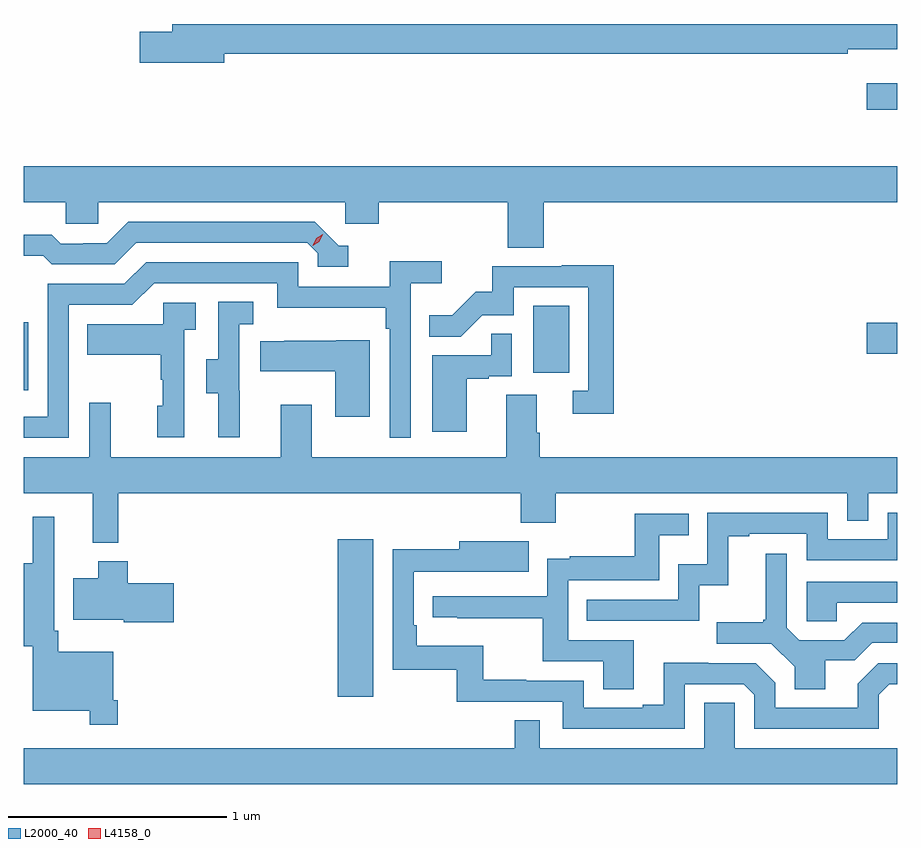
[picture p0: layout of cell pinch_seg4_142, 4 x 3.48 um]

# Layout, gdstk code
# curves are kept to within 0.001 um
import gdstk
lib = gdstk.Library(unit=1e-6, precision=1e-09)
def R(c, l, rs):  # rectangles x0, y0, x1, y1
    for r in rs: c.add(gdstk.rectangle(r[:2], r[2:], *l))
def P(c, l, *ps):  # polygons
    for p in ps: c.add(gdstk.Polygon(p, *l))
L2000_40 = (2000, 40)
L4158_0 = (4158, 0)

pinch_seg4_142 = lib.new_cell('pinch_seg4_142')
R(pinch_seg4_142, L2000_40, [(1103.75,805.212,1103.911,805.933), (1102.311,806.616,1102.332,806.926), (1104.644,806.694,1104.808,807.001), (1106.172,806.782,1106.311,806.924), (1106.172,807.899,1106.311,808.021)])
P(pinch_seg4_142, L2000_40, [(1103.23,808.156),(1106.084,808.156),(1106.084,808.176),(1106.311,808.176),(1106.311,808.292),(1102.991,808.292),(1102.991,808.256),(1102.842,808.256),(1102.842,808.114),(1103.23,808.114)],
  [(1104.692,807.476),(1106.311,807.476),(1106.311,807.64),(1102.311,807.64),(1102.311,807.476),(1102.503,807.476),(1102.503,807.378),(1102.653,807.378),(1102.653,807.476),(1103.784,807.476),(1103.784,807.378),(1103.936,807.378),(1103.936,807.476),(1104.527,807.476),(1104.527,807.268),(1104.692,807.268)],
  [(1103.797,807.276),(1103.754,807.276),(1103.643,807.387),(1102.79,807.387),(1102.691,807.288),(1102.584,807.288),(1102.584,807.285),(1102.481,807.285),(1102.439,807.328),(1102.311,807.328),(1102.311,807.231),(1102.4,807.231),(1102.439,807.192),(1102.728,807.192),(1102.827,807.291),(1103.61,807.291),(1103.658,807.243),(1103.658,807.18),(1103.797,807.18)],
  [(1102.518,807.006),(1102.809,807.006),(1102.908,807.105),(1103.472,807.105),(1103.472,806.993),(1103.968,806.993),(1103.968,806.897),(1103.988,806.897),(1103.988,806.397),(1104.084,806.397),(1104.084,807.104),(1104.226,807.104),(1104.226,807.206),(1103.987,807.206),(1103.987,807.09),(1103.568,807.09),(1103.568,807.201),(1102.871,807.201),(1102.772,807.102),(1102.422,807.102),(1102.422,806.493),(1102.311,806.493),(1102.311,806.397),(1102.518,806.397)],
  [(1105.013,807.188),(1104.775,807.188),(1104.775,807.183),(1104.457,807.183),(1104.457,807.066),(1104.38,807.066),(1104.273,806.959),(1104.169,806.959),(1104.169,806.86),(1104.313,806.86),(1104.411,806.958),(1104.555,806.958),(1104.555,807.087),(1104.897,807.087),(1104.897,806.613),(1104.825,806.613),(1104.825,806.508),(1105.013,806.508)],
  [(1103.3,806.613),(1103.298,806.613),(1103.298,806.917),(1103.362,806.917),(1103.362,807.02),(1103.202,807.02),(1103.202,806.757),(1103.147,806.757),(1103.147,806.602),(1103.201,806.602),(1103.201,806.4),(1103.3,806.4)],
  [(1103.046,806.891),(1103.098,806.891),(1103.098,807.015),(1102.95,807.015),(1102.95,806.917),(1102.603,806.917),(1102.603,806.777),(1102.938,806.777),(1102.938,806.663),(1102.948,806.663),(1102.948,806.544),(1102.922,806.544),(1102.922,806.4),(1103.046,806.4)],
  [(1104.34,806.667),(1104.44,806.667),(1104.44,806.679),(1104.546,806.679),(1104.546,806.873),(1104.451,806.873),(1104.451,806.775),(1104.182,806.775),(1104.182,806.424),(1104.34,806.424)],
  [(1103.896,806.845),(1103.742,806.845),(1103.742,806.842),(1103.503,806.842),(1103.503,806.839),(1103.395,806.839),(1103.395,806.702),(1103.738,806.702),(1103.738,806.493),(1103.896,806.493)],
  [(1102.745,806.144),(1104.587,806.144),(1104.587,806.009),(1104.747,806.009),(1104.747,806.144),(1106.082,806.144),(1106.082,806.017),(1106.178,806.017),(1106.178,806.144),(1106.311,806.144),(1106.311,806.308),(1104.674,806.308),(1104.674,806.42),(1104.661,806.42),(1104.661,806.594),(1104.521,806.594),(1104.521,806.308),(1103.629,806.308),(1103.629,806.548),(1103.489,806.548),(1103.489,806.308),(1102.709,806.308),(1102.709,806.557),(1102.611,806.557),(1102.611,806.308),(1102.311,806.308),(1102.311,806.144),(1102.628,806.144),(1102.628,805.916),(1102.745,805.916)],
  [(1105.404,805.721),(1105.537,805.721),(1105.537,805.947),(1105.633,805.947),(1105.633,805.959),(1105.896,805.959),(1105.896,805.836),(1106.311,805.836),(1106.311,806.055),(1106.268,806.055),(1106.268,805.932),(1105.992,805.932),(1105.992,806.055),(1105.44,806.055),(1105.44,805.819),(1105.308,805.819),(1105.308,805.656),(1104.889,805.656),(1104.889,805.56),(1105.404,805.56)],
  [(1105.105,805.47),(1104.804,805.47),(1104.804,805.746),(1105.221,805.746),(1105.221,805.952),(1105.355,805.952),(1105.355,806.049),(1105.11,806.049),(1105.11,805.855),(1104.811,805.855),(1104.811,805.843),(1104.708,805.843),(1104.708,805.671),(1104.183,805.671),(1104.183,805.575),(1104.295,805.575),(1104.295,805.57),(1104.688,805.57),(1104.688,805.374),(1104.965,805.374),(1104.965,805.246),(1105.105,805.246)],
  [(1102.742,805.195),(1102.722,805.195),(1102.722,805.417),(1102.469,805.417),(1102.469,805.513),(1102.451,805.513),(1102.451,806.035),(1102.352,806.035),(1102.352,805.822),(1102.311,805.822),(1102.311,805.442),(1102.352,805.442),(1102.352,805.148),(1102.614,805.148),(1102.614,805.083),(1102.742,805.083)],
  [(1105.338,805.269),(1105.608,805.269),(1105.656,805.221),(1105.656,805.065),(1106.226,805.065),(1106.226,805.221),(1106.274,805.269),(1106.311,805.269),(1106.311,805.365),(1106.223,805.365),(1106.129,805.271),(1106.129,805.161),(1105.752,805.161),(1105.752,805.275),(1105.662,805.365),(1105.446,805.365),(1105.446,805.367),(1105.241,805.367),(1105.241,805.174),(1105.145,805.174),(1105.145,805.161),(1104.876,805.161),(1104.876,805.284),(1104.611,805.284),(1104.611,805.289),(1104.415,805.289),(1104.415,805.444),(1104.11,805.444),(1104.11,805.54),(1104.096,805.54),(1104.096,805.785),(1104.623,805.784),(1104.623,805.924),(1104.305,805.924),(1104.305,805.886),(1104,805.886),(1104,805.335),(1104.294,805.335),(1104.294,805.188),(1104.78,805.188),(1104.78,805.065),(1105.338,805.065)],
  [(1105.981,805.378),(1106.116,805.378),(1106.196,805.458),(1106.311,805.458),(1106.311,805.551),(1106.15,805.551),(1106.069,805.47),(1105.863,805.47),(1105.806,805.527),(1105.806,805.867),(1105.709,805.867),(1105.709,805.564),(1105.698,805.564),(1105.698,805.552),(1105.485,805.552),(1105.485,805.455),(1105.734,805.455),(1105.841,805.348),(1105.841,805.246),(1105.981,805.246)],
  [(1102.999,805.731),(1102.787,805.731),(1102.787,805.831),(1102.652,805.831),(1102.652,805.753),(1102.538,805.753),(1102.538,805.565),(1102.77,805.565),(1102.77,805.553),(1102.999,805.553)],
  [(1106.033,805.641),(1106.311,805.641),(1106.311,805.737),(1105.896,805.737),(1105.896,805.557),(1106.033,805.557)],
  [(1106.311,804.976),(1105.566,804.976),(1105.566,805.184),(1105.427,805.184),(1105.427,804.976),(1104.675,804.976),(1104.675,805.103),(1104.559,805.103),(1104.559,804.976),(1102.311,804.976),(1102.311,804.812),(1106.311,804.812)])
P(pinch_seg4_142, L4158_0, [(1103.634,807.276),(1103.634,807.277),(1103.65,807.31),(1103.68,807.33),(1103.681,807.33),(1103.681,807.329),(1103.665,807.296),(1103.635,807.276)])

lib.write_gds('pinch_seg4_142.gds')
